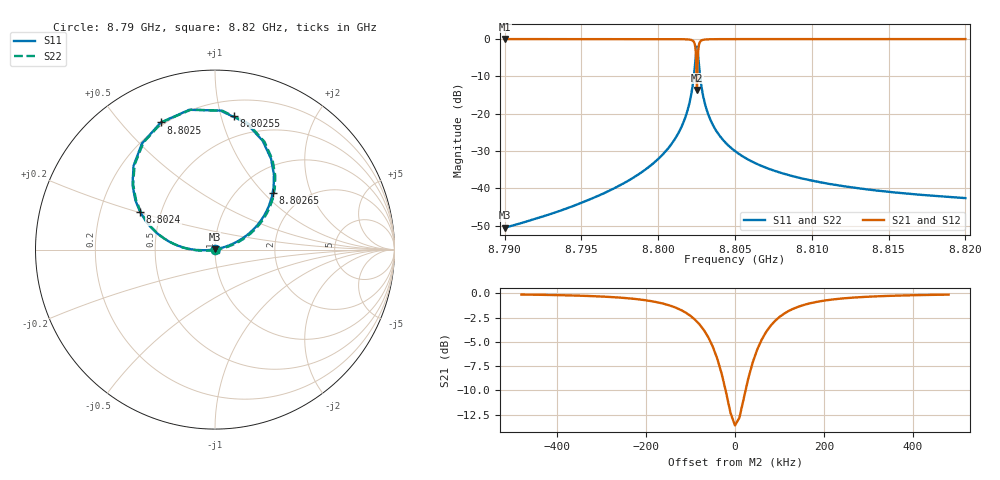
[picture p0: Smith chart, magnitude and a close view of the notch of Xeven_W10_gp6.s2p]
! Sonnet Data File
! From: emgraph Version : 16.52
! From Project: Qubit_Test_beforeopt
! Data is De-embedded
! Data File Written: 10/18/2017 16:57:21
!< HDATE 10/18/2017 09:03:38
!< MDATE 10/18/2017 09:03:38
!< PARAMS
!< Lj = 11.0
!< Gap = 6.0
!< Pwid = 2000.0
!< Airgap = 6.0
!< Width = 10.0
!< END PARAMS
# GHZ S MA R 51.80000
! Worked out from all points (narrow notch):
!   3001 points, 8.79 GHz to 8.82 GHz, reference 51.8 ohm
!   highest |S21| = 0.00 dB at 8.79 GHz (marker M1); lowest = -13.6 dB at 8.80252 GHz (marker M2)
!   notch at M2: 13.6 dB deep, 81.6 kHz wide at half that depth
!   lowest |S11| = -50.5 dB at 8.79 GHz (marker M3), VSWR 1.01, Z = 51.5 + j0.133 ohm
!   |S11| at or under -10 dB: start of sweep to 8.802319 GHz; 8.802728 GHz to end of sweep
!   |S22| runs from -50.5 to -2.0 dB; largest |S21 - S12| = 0
!   S11 on the Smith chart (normalised r, x): 8.79 GHz: 0.99, +0.00; 8.8024 GHz: 0.38, +0.20; 8.8025 GHz: 0.19, +0.65; 8.80255 GHz: 0.32, +1.10; 8.80265 GHz: 1.42, +1.13; 8.82 GHz: 1.01, +0.01
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8.79  0.002984 154.3  1 -80.8  1 -80.8  0.002972 -136.2
!< P1 F=8.79 Eeff=(6.44677226 -2.9786e-5) Z0=(51.7990523 1.19065e-4) R=0.0 C=0.0
!< P2 F=8.79 Eeff=(6.44677226 -2.9786e-5) Z0=(51.7990523 1.19065e-4) R=0.0 C=0.0
8.795  0.006414 173.6  1 -81.0  1 -81.0  0.0064 -156.1
8.79795  0.01234 -179.3  0.9999 -81.4  0.9999 -81.4  0.01232 -164.1
8.8  0.0248 -176.2  0.9995 -82.1  0.9995 -82.1  0.02477 -169.0
8.80098  0.04249 -175.8  0.9985 -83.2  0.9985 -83.2  0.04245 -172.0
8.80167  0.07919 -177.4  0.9951 -85.3  0.9951 -85.3  0.07911 -175.7
8.80221  0.2147 173.4  0.9638 -93.1  0.9638 -93.1  0.2145 173.5
8.80231  0.3047 166.6  0.926 -98.4  0.926 -98.4  0.3044 166.4
8.8024  0.4665 153.3  0.8166 -108.2  0.8166 -108.2  0.4661 152.8
8.8025  0.7701 113.1  0.3086 -116.2  0.3086 -116.2  0.7694 112.3
8.80252  0.792 100.5  0.2088 -83.8  0.2088 -83.8  0.7912 99.7
8.80255  0.7541 81.8  0.3655 -41.4  0.3655 -41.4  0.7535 80.9
8.80265  0.4524 44.6  0.8302 -54.1  0.8302 -54.1  0.452 43.4
8.80273  0.3132 33.1  0.9227 -62.6  0.9227 -62.6  0.3129 31.8
8.80285  0.2098 25.4  0.9662 -68.7  0.9662 -68.7  0.2097 23.7
8.80337  0.08573 16.9  0.9945 -75.8  0.9945 -75.8  0.08566 13.8
8.80404  0.04952 15.1  0.9982 -77.9  0.9982 -77.9  0.04948 10.3
8.805  0.03164 14.9  0.9993 -79.0  0.9993 -79.0  0.03162 7.9
8.80704  0.01886 16.1  0.9998 -79.7  0.9998 -79.7  0.01885 4.9
8.81  0.01273 18.2  0.9999 -80.1  0.9999 -80.1  0.01272 1.8
8.815  0.009006 21.2  0.9999 -80.3  0.9999 -80.3  0.009002 -1.7
8.82  0.007428 23.4  1 -80.5  1 -80.5  0.007425 -4.3
